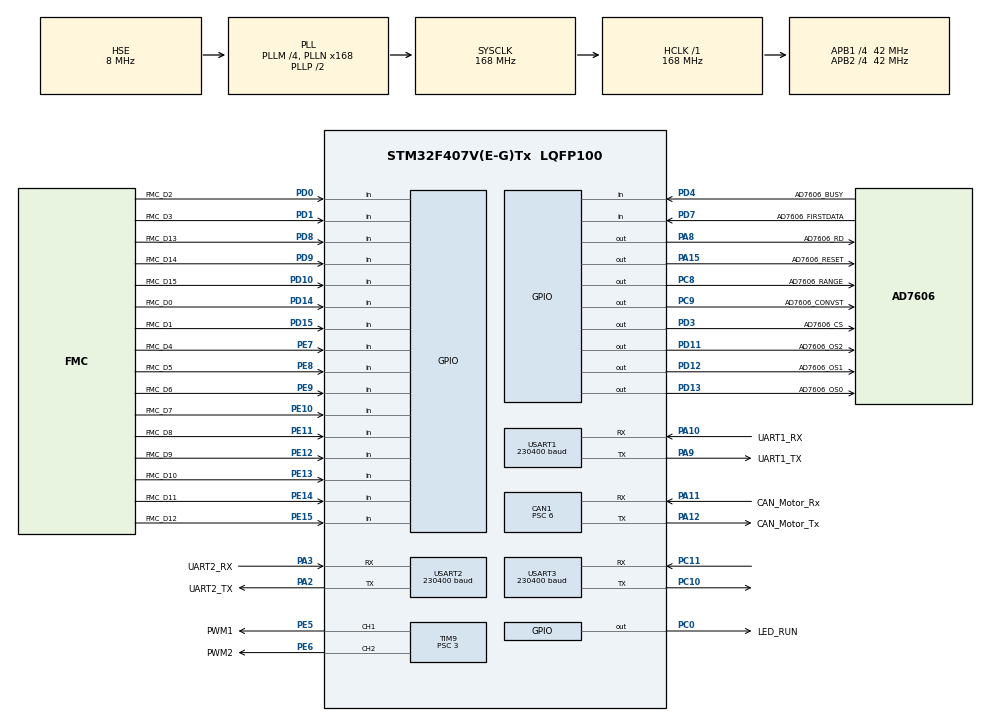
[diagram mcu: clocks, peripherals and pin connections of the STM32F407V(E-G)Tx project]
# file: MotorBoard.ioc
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CAN1.ABOM=ENABLE
CAN1.BS1=CAN_BS1_4TQ
CAN1.BS2=CAN_BS2_2TQ
CAN1.CalculateBaudRate=1000000
CAN1.CalculateTimeBit=1000
CAN1.CalculateTimeQuantum=142.85714285714286
CAN1.NART=ENABLE
CAN1.Prescaler=6
Dma.Request0=USART2_TX
Dma.Request1=USART3_RX
Dma.Request2=USART3_TX
Dma.USART2_TX.0.Direction=DMA_MEMORY_TO_PERIPH
Dma.USART2_TX.0.FIFOMode=DMA_FIFOMODE_DISABLE
Dma.USART2_TX.0.Instance=DMA1_Stream6
Dma.USART2_TX.0.MemDataAlignment=DMA_MDATAALIGN_BYTE
Dma.USART2_TX.0.MemInc=DMA_MINC_ENABLE
Dma.USART2_TX.0.Mode=DMA_NORMAL
Dma.USART2_TX.0.PeriphDataAlignment=DMA_PDATAALIGN_BYTE
Dma.USART2_TX.0.PeriphInc=DMA_PINC_DISABLE
Dma.USART2_TX.0.Priority=DMA_PRIORITY_LOW
Dma.USART3_RX.1.Direction=DMA_PERIPH_TO_MEMORY
Dma.USART3_RX.1.FIFOMode=DMA_FIFOMODE_DISABLE
Dma.USART3_RX.1.Instance=DMA1_Stream1
Dma.USART3_RX.1.MemDataAlignment=DMA_MDATAALIGN_BYTE
Dma.USART3_RX.1.MemInc=DMA_MINC_ENABLE
Dma.USART3_RX.1.Mode=DMA_NORMAL
Dma.USART3_RX.1.PeriphDataAlignment=DMA_PDATAALIGN_BYTE
Dma.USART3_RX.1.PeriphInc=DMA_PINC_DISABLE
Dma.USART3_RX.1.Priority=DMA_PRIORITY_LOW
Dma.USART3_TX.2.Direction=DMA_MEMORY_TO_PERIPH
Dma.USART3_TX.2.FIFOMode=DMA_FIFOMODE_DISABLE
Dma.USART3_TX.2.Instance=DMA1_Stream3
Dma.USART3_TX.2.MemDataAlignment=DMA_MDATAALIGN_BYTE
Dma.USART3_TX.2.MemInc=DMA_MINC_ENABLE
Dma.USART3_TX.2.Mode=DMA_NORMAL
Dma.USART3_TX.2.PeriphDataAlignment=DMA_PDATAALIGN_BYTE
Dma.USART3_TX.2.PeriphInc=DMA_PINC_DISABLE
Dma.USART3_TX.2.Priority=DMA_PRIORITY_LOW
Mcu.Family=STM32F4
Mcu.Name=STM32F407V(E-G)Tx
Mcu.Package=LQFP100
NVIC.CAN1_RX0_IRQn=true\:2\:0\:true\:false\:true\:true\:true\:true
NVIC.CAN1_RX1_IRQn=true\:2\:0\:true\:false\:true\:true\:true\:true
NVIC.CAN1_SCE_IRQn=true\:2\:0\:true\:false\:true\:true\:true\:true
NVIC.CAN1_TX_IRQn=true\:2\:0\:true\:false\:true\:true\:true\:true
NVIC.DMA1_Stream1_IRQn=true\:0\:0\:false\:false\:true\:false\:true\:true
NVIC.DMA1_Stream3_IRQn=true\:0\:0\:false\:false\:true\:false\:true\:true
NVIC.DMA1_Stream6_IRQn=true\:2\:0\:true\:false\:true\:false\:true\:true
NVIC.PriorityGroup=NVIC_PRIORITYGROUP_4
NVIC.TIM1_BRK_TIM9_IRQn=true\:0\:0\:false\:false\:true\:true\:true\:true
NVIC.TIM2_IRQn=true\:0\:0\:false\:false\:true\:true\:true\:true
NVIC.TIM6_DAC_IRQn=true\:3\:0\:true\:false\:true\:true\:true\:true
NVIC.USART2_IRQn=true\:4\:0\:true\:false\:true\:true\:true\:true
NVIC.USART3_IRQn=true\:3\:0\:true\:false\:true\:true\:true\:true
PA10.GPIO_Label=UART1_RX
PA10.Mode=Asynchronous
PA10.Signal=USART1_RX
PA11.GPIO_Label=CAN_Motor_Rx
PA11.Mode=CAN_Activate
PA11.Signal=CAN1_RX
PA12.GPIO_Label=CAN_Motor_Tx
PA12.Mode=CAN_Activate
PA12.Signal=CAN1_TX
PA13.Mode=Serial_Wire
PA13.Signal=SYS_JTMS-SWDIO
PA14.Mode=Serial_Wire
PA14.Signal=SYS_JTCK-SWCLK
PA15.GPIO_Label=AD7606_RESET
PA15.GPIO_PuPd=GPIO_PULLDOWN
PA15.GPIO_Speed=GPIO_SPEED_FREQ_HIGH
PA15.Signal=GPIO_Output
PA2.GPIO_Label=UART2_TX
PA2.Mode=Asynchronous
PA2.Signal=USART2_TX
PA3.GPIO_Label=UART2_RX
PA3.Mode=Asynchronous
PA3.Signal=USART2_RX
PA8.GPIO_Label=AD7606_RD
PA8.GPIO_PuPd=GPIO_PULLDOWN
PA8.GPIO_Speed=GPIO_SPEED_FREQ_HIGH
PA8.PinState=GPIO_PIN_RESET
PA8.Signal=GPIO_Output
PA9.GPIO_Label=UART1_TX
PA9.Mode=Asynchronous
PA9.Signal=USART1_TX
PC0.GPIO_Label=LED_RUN
PC0.GPIO_Speed=GPIO_SPEED_FREQ_MEDIUM
PC0.Signal=GPIO_Output
PC10.Mode=Asynchronous
PC10.Signal=USART3_TX
PC11.Mode=Asynchronous
PC11.Signal=USART3_RX
PC8.GPIO_Label=AD7606_RANGE
PC8.GPIO_PuPd=GPIO_PULLDOWN
PC8.GPIO_Speed=GPIO_SPEED_FREQ_HIGH
PC8.Signal=GPIO_Output
PC9.GPIO_Label=AD7606_CONVST
PC9.GPIO_PuPd=GPIO_PULLDOWN
PC9.GPIO_Speed=GPIO_SPEED_FREQ_HIGH
PC9.Signal=GPIO_Output
PD0.GPIO_Label=FMC_D2
PD0.Signal=GPIO_Input
PD1.GPIO_Label=FMC_D3
PD1.Signal=GPIO_Input
PD10.GPIO_Label=FMC_D15
PD10.Signal=GPIO_Input
PD11.GPIO_Label=AD7606_OS2
PD11.GPIO_PuPd=GPIO_PULLDOWN
PD11.GPIO_Speed=GPIO_SPEED_FREQ_HIGH
PD11.Signal=GPIO_Output
PD12.GPIO_Label=AD7606_OS1
PD12.GPIO_PuPd=GPIO_PULLDOWN
PD12.GPIO_Speed=GPIO_SPEED_FREQ_HIGH
PD12.Signal=GPIO_Output
PD13.GPIO_Label=AD7606_OS0
PD13.GPIO_ModeDefaultOutputPP=GPIO_MODE_OUTPUT_PP
PD13.GPIO_PuPd=GPIO_PULLDOWN
PD13.GPIO_Speed=GPIO_SPEED_FREQ_HIGH
PD13.Signal=GPIO_Output
PD14.GPIO_Label=FMC_D0
PD14.Signal=GPIO_Input
PD15.GPIO_Label=FMC_D1
PD15.Signal=GPIO_Input
PD3.GPIO_Label=AD7606_CS
PD3.GPIO_PuPd=GPIO_PULLDOWN
PD3.GPIO_Speed=GPIO_SPEED_FREQ_HIGH
PD3.Signal=GPIO_Output
PD4.GPIO_Label=AD7606_BUSY
PD4.GPIO_PuPd=GPIO_NOPULL
PD4.Signal=GPIO_Input
PD7.GPIO_Label=AD7606_FIRSTDATA
PD7.Signal=GPIO_Input
PD8.GPIO_Label=FMC_D13
PD8.Signal=GPIO_Input
PD9.GPIO_Label=FMC_D14
PD9.Signal=GPIO_Input
PE10.GPIO_Label=FMC_D7
PE10.Signal=GPIO_Input
PE11.GPIO_Label=FMC_D8
PE11.Signal=GPIO_Input
PE12.GPIO_Label=FMC_D9
PE12.Signal=GPIO_Input
PE13.GPIO_Label=FMC_D10
PE13.Signal=GPIO_Input
PE14.GPIO_Label=FMC_D11
PE14.Signal=GPIO_Input
PE15.GPIO_Label=FMC_D12
PE15.Signal=GPIO_Input
PE5.GPIO_Label=PWM1
PE5.GPIO_Speed=GPIO_SPEED_FREQ_VERY_HIGH
PE5.Signal=S_TIM9_CH1
PE6.GPIO_Label=PWM2
PE6.GPIO_Speed=GPIO_SPEED_FREQ_VERY_HIGH
PE6.Signal=S_TIM9_CH2
PE7.GPIO_Label=FMC_D4
PE7.Signal=GPIO_Input
PE8.GPIO_Label=FMC_D5
PE8.Signal=GPIO_Input
PE9.GPIO_Label=FMC_D6
PE9.Signal=GPIO_Input
PH0-OSC_IN.Mode=HSE-External-Oscillator
PH0-OSC_IN.Signal=RCC_OSC_IN
PH1-OSC_OUT.Mode=HSE-External-Oscillator
PH1-OSC_OUT.Signal=RCC_OSC_OUT
ProjectManager.HeapSize=0x200
ProjectManager.StackSize=0x400
ProjectManager.TargetToolchain=MDK-ARM V5.32
RCC.48MHZClocksFreq_Value=84000000
RCC.AHBFreq_Value=168000000
RCC.APB1CLKDivider=RCC_HCLK_DIV4
RCC.APB1Freq_Value=42000000
RCC.APB1TimFreq_Value=84000000
RCC.APB2CLKDivider=RCC_HCLK_DIV4
RCC.APB2Freq_Value=42000000
RCC.APB2TimFreq_Value=84000000
RCC.CortexFreq_Value=168000000
RCC.HCLKFreq_Value=168000000
RCC.HSE_VALUE=8000000
RCC.HSI_VALUE=16000000
RCC.LSE_VALUE=32768
RCC.PLLM=4
RCC.PLLN=168
RCC.PLLSourceVirtual=RCC_PLLSOURCE_HSE
RCC.SYSCLKFreq_VALUE=168000000
RCC.SYSCLKSource=RCC_SYSCLKSOURCE_PLLCLK
RCC.VCOOutputFreq_Value=336000000
SH.S_TIM9_CH1.0=TIM9_CH1,PWM Generation1 CH1
SH.S_TIM9_CH2.0=TIM9_CH2,PWM Generation2 CH2
TIM2.AutoReloadPreload=TIM_AUTORELOAD_PRELOAD_ENABLE
TIM2.Period=9999
TIM2.Prescaler=83
TIM6.Period=9999
TIM6.Prescaler=167
TIM9.AutoReloadPreload=TIM_AUTORELOAD_PRELOAD_DISABLE
TIM9.Channel-PWM\ Generation1\ CH1=TIM_CHANNEL_1
TIM9.Channel-PWM\ Generation2\ CH2=TIM_CHANNEL_2
TIM9.OC1Preload_PWM=DISABLE
TIM9.OC2Preload_PWM=DISABLE
TIM9.OCPolarity_1=TIM_OCPOLARITY_LOW
TIM9.OCPolarity_2=TIM_OCPOLARITY_LOW
TIM9.Period=1049
TIM9.Prescaler=3
USART1.BaudRate=230400
USART1.VirtualMode=VM_ASYNC
USART2.BaudRate=230400
USART2.VirtualMode=VM_ASYNC
USART3.BaudRate=230400
USART3.VirtualMode=VM_ASYNC
VP_TIM2_VS_ClockSourceINT.Mode=Internal
VP_TIM6_VS_ClockSourceINT.Mode=Enable_Timer
board=custom

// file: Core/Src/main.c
/* USER CODE BEGIN Header */
/**
  ******************************************************************************
  * @file           : main.c
  * @brief          : Main program body
  ******************************************************************************
  * @attention
  *
  * Copyright (c) 2025 STMicroelectronics.
  * All rights reserved.
  *
  * This software is licensed under terms that can be found in the LICENSE file
  * in the root directory of this software component.
  * If no LICENSE file comes with this software, it is provided AS-IS.
  *
  ******************************************************************************
  */
/* USER CODE END Header */
#include "main.h"
#include "can.h"
#include "dma.h"
#include "tim.h"
#include "usart.h"
#include "gpio.h"

/* USER CODE BEGIN Includes */
#include <stdio.h>
#include <stdint.h>
#include <stdlib.h>
#include <string.h>
#include <math.h>
#include <rs00_motor.h>
#include "mpu6050.h"
#include "i2c.h"
#include "proto_transport.h"
#include "proto_app.h"
#include "flash_store.h"
#include "motor_ctrl.h"
#include "active_reference.h"

/* USER CODE END Includes */

/* USER CODE BEGIN PTD */
#define MAX_HOME_TRAVEL   45.0f
#define HOME_ANGLE_RAW  0.0f
/* USER CODE END PTD */

/* USER CODE BEGIN PD */

#define ENABLE_USART1_FLOAT_TEST 0

/* USER CODE END PD */

/* USER CODE BEGIN PV */

MIT_StateTypeDef mit_state;
uint32_t g_100ms_counter = 0;  // 100ms鎵ц涓€娆＄殑璁℃暟鍣?
uint8_t g_rs00_mode = 5;
volatile uint8_t Chilun_arrive_flag = 0;
volatile uint8_t g_homing_done = 0;     // 鍥為浂瀹屾垚鏍囧織
float g_home_offset = 0.0f;             // 闆剁偣瀵瑰簲鐨勭疮璁¤搴︼紙鍗宠Е鍙戠灛闂寸殑 g_total_angle_1锛?
static uint8_t g_mpu6050_ready = 0U;
uint8_t g_m2_traj_mode = 0u;  /* Motor2: 0=position, 1=velocity */
float   g_m2_traj_deg  = 0.0f;  /* Motor2 planned position (deg) */
float   g_m2_traj_vel  = 0.0f;  /* Motor2 planned velocity (deg/cycle) */

/* --- Rehab passive control state machine --- */
typedef enum {
    REHAB_IDLE = 0,
    REHAB_FORWARD,     /* moving toward max */
    REHAB_BACKWARD,    /* moving toward min */
    REHAB_RETURN       /* returning to zero */
} rehab_state_t;

typedef struct {
    uint8_t  active;       /* 0=stopped, 1=running */
    uint8_t  state;        /* rehab_state_t */
    float    target;       /* current target angle (°) */
    uint16_t half_cycles;  /* half-cycles completed */
} rehab_ctx_t;

static rehab_ctx_t g_rehab_m1 = {0u, REHAB_IDLE, 0.0f, 0u};
static rehab_ctx_t g_rehab_m2 = {0u, REHAB_IDLE, 0.0f, 0u};

/* --- Active rehab visual reference (shared quintic generator) --- */
static actv_rehab_t g_actv_m1 = {0};
static float        g_actv_traj_pos = 0.0f;   /* M1 T-wave position for telemetry */

static actv_rehab_t g_actv_m2 = {0};
static float        g_actv_traj_pos_m2 = 0.0f; /* M2 T-wave position for telemetry */
static uint8_t      g_actv_m2_mode = 1u;       /* 1=flex/ext(Fy), 2=ulnar/radial(Fz) */

/* USER CODE END PV */

void SystemClock_Config(void);
/* USER CODE BEGIN PFP */

void Command_Process(void);
void control_process(void);

void AD_Caiyang_process(void);
void Order_Creat_process(void);
void Signal_UPdata_Process(void)
{
	static uint32_t send_counter = 0U;
	static const uint8_t telem_ids[18] = {
		PROTO_FLOAT_ID_MOTOR1_ANGLE,   /* [0] PID input (trajectory setpoint) */
		PROTO_FLOAT_ID_MOTOR1_SPEED,   /* [1] feedback (roll) */
		PROTO_FLOAT_ID_MOTOR1_CURRENT, /* [2] PID output */
		PROTO_FLOAT_ID_MOTOR1_KP,      /* [3] Kp */
		PROTO_FLOAT_ID_MOTOR1_KI,      /* [4] Ki */
		PROTO_FLOAT_ID_MOTOR2_ANGLE,   /* [5] planned position (°) */
		PROTO_FLOAT_ID_MOTOR2_SPEED,   /* [6] actual position (°) */
		PROTO_FLOAT_ID_MOTOR2_TORQUE,  /* [7] planned velocity (°/s) */
		PROTO_FLOAT_ID_MOTOR2_KP,      /* [8] actual velocity (°/s) */
		PROTO_FLOAT_ID_MOTOR2_KD,      /* [9] torque (N*m) */
		PROTO_FLOAT_ID_FORCE_FX,       /* [10] DR304 Fx (N) */
		PROTO_FLOAT_ID_FORCE_FY,       /* [11] DR304 Fy (N) */
		PROTO_FLOAT_ID_FORCE_FZ,       /* [12] DR304 Fz (N) */
		PROTO_FLOAT_ID_FORCE_MX,       /* [13] DR304 Mx (N*m) */
		PROTO_FLOAT_ID_FORCE_MY,       /* [14] DR304 My (N*m) */
		PROTO_FLOAT_ID_FORCE_MZ,       /* [15] DR304 Mz (N*m) */
		PROTO_FLOAT_ID_M1_ACTV_SPEED,  /* [16] M1 T-wave (°) */
		PROTO_FLOAT_ID_M2_ACTV_SPEED,  /* [17] M2 T-wave (°) */
	};
	float telem_vals[18];
	float ft_vals[6];

	/* Throttle to ~20Hz (every 5 control cycles) */
	send_counter++;
	if (send_counter < 5U) return;
	send_counter = 0U;

	/* Motor1 data */
	telem_vals[0] = Control_P_PID.In_val;        /* PID setpoint (trajectory) */
	telem_vals[1] = roll;                         /* PID feedback (IMU roll) */
	telem_vals[2] = Control_P_PID.u_out;          /* PID output */
	telem_vals[3] = my_Order_mode.motor1_kp;      /* Kp */
	telem_vals[4] = my_Order_mode.motor1_ki;      /* Ki */

	/* Motor2: planned=target, actual=CAN feedback */
	telem_vals[5] = g_m2_traj_deg;                         /* planned position (°) */
	telem_vals[6] = motor_feedback.position * 57.29578f;   /* actual position (rad→°) */
	telem_vals[7] = g_m2_traj_vel * 100.0f;                /* planned velocity (deg/cycle→°/s) */
	telem_vals[8] = motor_feedback.speed * 57.29578f;      /* actual velocity (rad/s→°/s) */
	telem_vals[9] = motor_feedback.torque;                 /* torque (N·m) */

	/* Force sensor: DR304 via UART2 Modbus */
	USART2_DR304GetLatestValues(ft_vals);
	telem_vals[10] = ft_vals[0];
	telem_vals[11] = ft_vals[1];
	telem_vals[12] = ft_vals[2];
	telem_vals[13] = ft_vals[3];
	telem_vals[14] = ft_vals[4];
	telem_vals[15] = ft_vals[5];

	/* T-wave virtual trajectory */
	telem_vals[16] = g_actv_traj_pos;
	telem_vals[17] = g_actv_traj_pos_m2;

	(void)proto_app_send_telemetry(18U, telem_ids, telem_vals);
}
void Motor1_dingdian_control_process(void);

/* USER CODE END PFP */

/* USER CODE BEGIN 0 */

/* --- UART3 float dispatch → motor_ctrl --- */
static void app_float_callback(uint8_t float_id, float value)
{
    switch (float_id)
    {
    case PROTO_FLOAT_ID_MOTOR1_ANGLE:        motor1_set_angle(value);        break;
    case PROTO_FLOAT_ID_MOTOR1_SPEED:        motor1_set_speed(value);        break;
    case PROTO_FLOAT_ID_MOTOR1_CURRENT:      motor1_set_current(value);      break;
    case PROTO_FLOAT_ID_MOTOR1_KP:           motor1_set_kp(value);           break;
    case PROTO_FLOAT_ID_MOTOR1_KI:           motor1_set_ki(value);           break;
    case PROTO_FLOAT_ID_MOTOR1_PWM:          motor1_set_pwm_duty(value);      break;
    case PROTO_FLOAT_ID_MOTOR1_MAX_SPEED:    motor1_set_max_speed(value);     break;
    case PROTO_FLOAT_ID_MOTOR1_REHAB_MIN:   motor1_set_rehab_min(value);     break;
    case PROTO_FLOAT_ID_MOTOR1_REHAB_MAX:   motor1_set_rehab_max(value);     break;
    case PROTO_FLOAT_ID_MOTOR1_REHAB_CYCLES:motor1_set_rehab_cycles(value);  break;
    case PROTO_FLOAT_ID_M1_ACTV_SPEED:       motor1_set_actv_speed(value);    break;
    case PROTO_FLOAT_ID_M1_ACTV_LIMIT1:      motor1_set_actv_limit1(value);   break;
    case PROTO_FLOAT_ID_M1_ACTV_LIMIT2:      motor1_set_actv_limit2(value);   break;
    case PROTO_FLOAT_ID_M1_ACTV_PAUSE:       motor1_set_actv_pause(value);    break;
    case PROTO_FLOAT_ID_M1_ACTV_TMAX:        motor1_set_actv_tmax(value);     break;
    case PROTO_FLOAT_ID_M1_ACTV_STIFF:       motor1_set_actv_stiffness(value);break;
    case PROTO_FLOAT_ID_MOTOR2_ANGLE:        motor2_set_position(value);      break;
    case PROTO_FLOAT_ID_MOTOR2_SPEED:        motor2_set_velocity(value);     break;
    case PROTO_FLOAT_ID_MOTOR2_TORQUE:       motor2_set_torque(value);       break;
    case PROTO_FLOAT_ID_MOTOR2_KP:           motor2_set_kp(value);           break;
    case PROTO_FLOAT_ID_MOTOR2_KD:           motor2_set_kd(value);           break;
    case PROTO_FLOAT_ID_MOTOR2_MAX_SPEED:    motor2_set_max_speed(value);     break;
    case PROTO_FLOAT_ID_MOTOR2_CURRENT_LIMIT:motor2_set_current_limit(value);break;
    case PROTO_FLOAT_ID_MOTOR2_REHAB_MIN:   motor2_set_rehab_min(value);     break;
    case PROTO_FLOAT_ID_MOTOR2_REHAB_MAX:   motor2_set_rehab_max(value);     break;
    case PROTO_FLOAT_ID_MOTOR2_REHAB_CYCLES:motor2_set_rehab_cycles(value);  break;
    case PROTO_FLOAT_ID_M2_ACTV_SPEED:   motor2_set_actv_speed(value);       break;
    case PROTO_FLOAT_ID_M2_ACTV_LIMIT1:  motor2_set_actv_limit1(value);      break;
    case PROTO_FLOAT_ID_M2_ACTV_LIMIT2:  motor2_set_actv_limit2(value);      break;
    case PROTO_FLOAT_ID_M2_ACTV_PAUSE:   motor2_set_actv_pause(value);       break;
    case PROTO_FLOAT_ID_M2_ACTV_FMAX:    motor2_set_actv_fmax(value);        break;
    case PROTO_FLOAT_ID_M2_ACTV_STIFF:   motor2_set_actv_stiffness(value);   break;
    default: break;
    }
}

/* --- UART3 IO dispatch → motor_ctrl --- */
static void app_io_callback(uint8_t io_id, uint8_t state)
{
    switch (io_id)
    {
    case PROTO_IO_ID_M1_START_STOP:
        if (state == 1u) motor1_start();
        else             motor1_stop();
        break;
    case PROTO_IO_ID_MODE:
        motor1_ctrl_set_mode(state);
        break;
    case PROTO_IO_ID_M2_START_STOP:
        if (state == 1u) motor2_enable();
        else             motor2_stop();
        break;
    case PROTO_IO_ID_M2_RUN_MODE:
        motor2_set_mode(state);
        break;
    case PROTO_IO_ID_M2_SET_ZERO:
        motor2_set_zero();
        break;
    case PROTO_IO_ID_M2_CLEAR_ERR:
        motor2_clear_error();
        break;
    case PROTO_IO_ID_M2_TRAJ_MODE:
        g_m2_traj_mode = state;
        break;
    case PROTO_IO_ID_M1_REHAB:
        if (state == 1u) {
            g_rehab_m1.active = 1u;
            g_rehab_m1.state  = REHAB_FORWARD;
            g_rehab_m1.target = motor1_get_rehab_max();
            g_rehab_m1.half_cycles = 0u;
            motor1_ctrl_set_mode(0u);  /* force position mode */
            motor1_start();
            printf("Rehab M1: start, %.1f<->%.1f x%u\r\n",
                   (double)motor1_get_rehab_min(),
                   (double)motor1_get_rehab_max(),
                   (unsigned int)motor1_get_rehab_cycles());
        } else {
            g_rehab_m1.active = 0u;
            g_rehab_m1.state  = REHAB_IDLE;
            /* Stop TIM2 only if M2 rehab also idle */
            if (!g_rehab_m2.active) {
                motor1_stop();
            }
            printf("Rehab M1: stopped\r\n");
        }
        break;
    case PROTO_IO_ID_M2_REHAB:
        if (state == 1u) {
            g_rehab_m2.active = 1u;
            g_rehab_m2.state  = REHAB_FORWARD;
            g_rehab_m2.target = motor2_get_rehab_max();
            g_rehab_m2.half_cycles = 0u;
            g_m2_traj_mode = 0u;   /* force position mode */
            motor2_enable();
            /* Kick off control loop (normally started by motor1_start) */
            if (my_Order_mode.start_or_stop != _start) {
                my_Order_mode.start_or_stop = _start;
                TIM2_Start_IT();
            }
            printf("Rehab M2: start, %.1f<->%.1f x%u\r\n",
                   (double)motor2_get_rehab_min(),
                   (double)motor2_get_rehab_max(),
                   (unsigned int)motor2_get_rehab_cycles());
        } else {
            g_rehab_m2.active = 0u;
            g_rehab_m2.state  = REHAB_IDLE;
            motor2_stop();
            /* Stop control loop only if M1 rehab is also idle */
            if (!g_rehab_m1.active) {
                my_Order_mode.start_or_stop = _stop;
                TIM2_Stop_IT();
            }
            printf("Rehab M2: stopped\r\n");
        }
        break;
    case PROTO_IO_ID_SYS_RUN:
        if (state == 1u) {
            my_Order_mode.start_or_stop = _start;
            TIM2_Start_IT();
            printf("SYS: control loop started\r\n");
        } else {
            my_Order_mode.start_or_stop = _stop;
            TIM2_Stop_IT();
            printf("SYS: control loop stopped\r\n");
        }
        break;
    case PROTO_IO_ID_M1_ACTV_REHAB:
        if (state == 1u) {
            actv_ref_reset(&g_actv_m1, motor1_get_actv_limit1(),
                           motor1_get_actv_pause());
            g_actv_traj_pos = g_actv_m1.pos;
            /* Kick off control loop if not running */
            if (my_Order_mode.start_or_stop != _start) {
                my_Order_mode.start_or_stop = _start;
                TIM2_Start_IT();
            }
            motor1_ctrl_set_mode(1u);  /* velocity mode for force compliance */
            motor1_start();
            printf("ActiveRehab M1: start, %.1f<->%.1f spd=%.1f tmax=%.1f k=%.1f\r\n",
                   (double)motor1_get_actv_limit1(),
                   (double)motor1_get_actv_limit2(),
                   (double)motor1_get_actv_speed(),
                   (double)motor1_get_actv_tmax(),
                   (double)motor1_get_actv_stiffness());
        } else {
            g_actv_m1.active = 0u;
            if (!g_rehab_m1.active && !g_rehab_m2.active) {
                motor1_stop();
            }
            printf("ActiveRehab M1: stopped\r\n");
        }
        break;
    case PROTO_IO_ID_M2_ACTV_REHAB:
        if (state == 1u) {
            /* Position Motor1 first based on mode */
            motor1_ctrl_set_mode(0u);  /* position mode */
            if (g_actv_m2_mode == 1u) {
                motor1_set_angle(0.0f);
            } else {
                motor1_set_angle(80.0f);
            }
            actv_ref_reset(&g_actv_m2, motor2_get_actv_limit1(),
                           motor2_get_actv_pause());
            g_actv_traj_pos_m2 = g_actv_m2.pos;
            if (my_Order_mode.start_or_stop != _start) {
                my_Order_mode.start_or_stop = _start;
                TIM2_Start_IT();
            }
            motor1_start();
            motor2_enable();
            printf("ActiveRehab M2: mode=%u start, %.1f<->%.1f fmax=%.1f k=%.1f\r\n",
                   (unsigned int)g_actv_m2_mode,
                   (double)motor2_get_actv_limit1(),
                   (double)motor2_get_actv_limit2(),
                   (double)motor2_get_actv_fmax(),
                   (double)motor2_get_actv_stiffness());
        } else {
            g_actv_m2.active = 0u;
            motor2_stop();
            if (!g_rehab_m1.active && !g_rehab_m2.active && !g_actv_m1.active) {
                motor1_stop();
            }
            printf("ActiveRehab M2: stopped\r\n");
        }
        break;
    case PROTO_IO_ID_M2_ACTV_MODE:
        g_actv_m2_mode = (state == 2u) ? 2u : 1u;
        printf("ActiveRehab M2: mode=%u\r\n", (unsigned int)g_actv_m2_mode);
        break;
    case PROTO_IO_ID_FORCE_ZERO:
        USART2_DR304SetZero();
        break;
    default: break;
    }
}

/* USER CODE END 0 */

int main(void)
{

  /* MCU Configuration--------------------------------------------------------*/

  /* Reset of all peripherals, Initializes the Flash interface and the Systick. */
  HAL_Init();

  /* Configure the system clock */
  SystemClock_Config();

  /* Initialize all configured peripherals */
  MX_GPIO_Init();
  MX_DMA_Init();
  MX_SoftI2C_Init();
  MX_TIM9_Init();
  MX_USART1_UART_Init();
  MX_USART2_UART_Init();
  MX_CAN1_Init();
  MX_TIM2_Init();
  MX_USART3_UART_Init();
  MX_TIM6_Init();
  /* USER CODE BEGIN 2 */

	Controller_Init();
      // 鍒濆鍖栧欢鏃跺嚱鏁?
    delay_init();
	    proto_transport_init();
	    proto_app_init();
	    proto_app_set_float_callback(app_float_callback);
	    proto_app_set_io_callback(app_io_callback);
	    flash_store_load();

    uint8_t soft_i2c_scl_high = 0U;
    uint8_t soft_i2c_sda_high = 0U;
    HAL_StatusTypeDef mpu_init_status;
    SoftI2C_GetBusState(&soft_i2c_scl_high, &soft_i2c_sda_high);
    printf("Boot: IMU init start (SCL=%u SDA=%u)\r\n",
           (unsigned int)soft_i2c_scl_high, (unsigned int)soft_i2c_sda_high);
    mpu_init_status = MPU6050_Init();
    if (mpu_init_status == HAL_OK)
    {
        printf("Boot: IMU who_am_i=0x%02X\r\n",
               (unsigned int)MPU6050_GetWhoAmI());
    }
    else
    {
        printf("Boot: IMU init error=%d\r\n",
               (int)MPU6050_GetInitError());
    }
    if ((mpu_init_status == HAL_OK) &&
        (MPU6050_Calibrate(400U) == HAL_OK))
    {
        g_mpu6050_ready = 1U;
        printf("Boot: IMU ready\r\n");
    }
    else
    {
        printf("Boot: IMU init failed (err=%d)\r\n",
               (int)MPU6050_GetInitError());
    }

	AD7606_Init();

    printf("Boot: system ready\r\n");

  	HAL_TIM_PWM_Start(&htim9,TIM_CHANNEL_1);
	HAL_TIM_PWM_Start(&htim9,TIM_CHANNEL_2);

	__HAL_TIM_SetCompare(&htim9, TIM_CHANNEL_1, (uint32_t)(1049.0f * 0.0f));
	__HAL_TIM_SetCompare(&htim9, TIM_CHANNEL_2, (uint32_t)(1049.0f * 0.0f));

	HAL_CAN_Start(&hcan1);                   // 鍚姩 CAN
	HAL_Delay(100);
	RS00_WriteParamUint8(0x7F, 0xFD, 0x7005, 0);

	// 绛夊緟绯荤粺绋冲畾锛堝彲閫夛級
	HAL_Delay(2000);

	// 1. 浣胯兘鐢垫満锛堢數鏈篒D=0x7F锛屼富鏈篒D=0xFD锛?
	RS00_Enable(0x7F, 0xFD);
	HAL_Delay(500);  // 绛夊緟浣胯兘瀹屾垚
	HAL_Delay(500);
	RS00_StartHoming(0x7F,0xFD);

	uint32_t last_time = HAL_GetTick();
	uint32_t mpu_sample_time = HAL_GetTick();
	uint32_t mpu_print_time = HAL_GetTick();

	 // 涓婄數鍏堝畬鎴愬洖闆?
    //void Home_Motor_Safe(void);

//    //鍥為浂缁撴潫锛岀幇鍦?g_total_angle_1 宸茬粡鏄?0
//    // 璁剧疆瀹氱偣鎺у埗
//    my_Order_mode.start_or_stop = _start;
//    my_Order_mode.mode = dingdian;
//    my_Order_mode.motor1_jiaodu = 0.0f;   // 姝ゆ椂灏辨槸鍦ㄩ浂鐐?
  /* USER CODE END 2 */

  /* Infinite loop */
  /* USER CODE BEGIN WHILE */
  while (1)
  {
	  if (g_mpu6050_ready != 0U)
	  {
		  uint32_t now = HAL_GetTick();
		  MPU6050_Process();
		  if ((uint32_t)(now - mpu_sample_time) >= 5U)
		  {
			  mpu_sample_time = now;
			  (void)MPU6050_RequestUpdate();
		  }
		  if ((uint32_t)(now - mpu_print_time) >= 500U)
		  {
			  mpu_print_time = now;
			  /* MPU6050_PrintUSART1(); */
		  }
	  }

    /* USER CODE END WHILE */

    /* USER CODE BEGIN 3 */

	   /*can ceshi */

//		Command_Process();
		control_process();
		CAN_ProcessReceivedFrames();
		//USART2_DR304PrintTask();

//		 printf("RAW=%.2f\r\n", Sensor_jiaodu_1.Value);
//			HAL_Delay(500);
		// 100ms鎵ц涓€娆＄殑浠ｇ爜
		if(HAL_GetTick() - last_time >= 500)
		{
			last_time = HAL_GetTick();
			g_100ms_counter++;
#if ENABLE_USART1_FLOAT_TEST

			float send_data[10] =
			{
				1.1f,
				2.2f,
				3.3f,
				4.4f,
				5.5f,
				6.6f,
				7.7f,
				8.8f,
				9.9f,
				10.1f
			};

			uart_send_10float(send_data);
#endif

//			printf("Sensor_jiaodu_1.Value = %.4f g_total_angle_1 = %.4f\r\n",Sensor_jiaodu_1.Value, g_total_angle_1);

		}

		proto_transport_poll();
  }
  /* USER CODE END 3 */
}

void SystemClock_Config(void)
{
  RCC_OscInitTypeDef RCC_OscInitStruct = {0};
  RCC_ClkInitTypeDef RCC_ClkInitStruct = {0};

  /** Configure the main internal regulator output voltage
  */
  __HAL_RCC_PWR_CLK_ENABLE();
  __HAL_PWR_VOLTAGESCALING_CONFIG(PWR_REGULATOR_VOLTAGE_SCALE1);

  /** Initializes the RCC Oscillators according to the specified parameters
  * in the RCC_OscInitTypeDef structure.
  */
  RCC_OscInitStruct.OscillatorType = RCC_OSCILLATORTYPE_HSE;
  RCC_OscInitStruct.HSEState = RCC_HSE_ON;
  RCC_OscInitStruct.PLL.PLLState = RCC_PLL_ON;
  RCC_OscInitStruct.PLL.PLLSource = RCC_PLLSOURCE_HSE;
  RCC_OscInitStruct.PLL.PLLM = 4;
  RCC_OscInitStruct.PLL.PLLN = 168;
  RCC_OscInitStruct.PLL.PLLP = RCC_PLLP_DIV2;
  RCC_OscInitStruct.PLL.PLLQ = 4;
  if (HAL_RCC_OscConfig(&RCC_OscInitStruct) != HAL_OK)
  {
    Error_Handler();
  }

  /** Initializes the CPU, AHB and APB buses clocks
  */
  RCC_ClkInitStruct.ClockType = RCC_CLOCKTYPE_HCLK|RCC_CLOCKTYPE_SYSCLK
                              |RCC_CLOCKTYPE_PCLK1|RCC_CLOCKTYPE_PCLK2;
  RCC_ClkInitStruct.SYSCLKSource = RCC_SYSCLKSOURCE_PLLCLK;
  RCC_ClkInitStruct.AHBCLKDivider = RCC_SYSCLK_DIV1;
  RCC_ClkInitStruct.APB1CLKDivider = RCC_HCLK_DIV4;
  RCC_ClkInitStruct.APB2CLKDivider = RCC_HCLK_DIV4;

  if (HAL_RCC_ClockConfig(&RCC_ClkInitStruct, FLASH_LATENCY_5) != HAL_OK)
  {
    Error_Handler();
  }
}

/* USER CODE BEGIN 4 */

void set_motor_pwm(float pwm1,float pwm2)
{

	float real_pwm1, real_pwm2;
	real_pwm1 = limit(pwm1,1.0f,0.0f);
	real_pwm2 = limit(pwm2,1.0f,0.0f);

	//printf("real1 = %f,real2 =%f\n",real_pwm1,real_pwm2);

	__HAL_TIM_SetCompare(&htim9, TIM_CHANNEL_1, (uint32_t)(Motor_count * real_pwm1));
	__HAL_TIM_SetCompare(&htim9, TIM_CHANNEL_2, (uint32_t)(Motor_count * real_pwm2));
}

void control_process(void)
{
	if (my_Order_mode.start_or_stop == _start)
	{
		if (My_state == work_flag)
		{
			switch (controller_flag)		//閿熸枻鎷烽敓鏂ゆ嫹閿熼樁鍒侯剨鎷烽敓鏂ゆ嫹閿熸彮鎭㈡唻鎷烽敓绐栴叏鎷烽敓鏂ゆ嫹妯￠敓鏂ゆ嫹閿熸枻鎷烽敓鏂ゆ嫹閿熸彮浼欐嫹閿熸枻鎷穡ork_flag,閿熸枻鎷?0ms閿熸枻鎷烽敓鏂ゆ嫹閿熼摪闈╂嫹浣嶄竴閿熻娇鐨勨槄鎷?
			{
				case wait:
					controller_flag = caiji;
				break;
				case caiji:
					AD_Caiyang_process();		//閿熸枻鎷烽敓鏂ゆ嫹閿熸嵎闈╂嫹閿熼摪纰夋嫹h_as5600閿熸枻鎷烽敓鏂ゆ嫹宄佺櫢鎷烽敓鏂ゆ嫹閿熸枻鎷烽敓鏂ゆ嫹閿?
					controller_flag = creat_order;
				break;
				case creat_order:
					Order_Creat_process();
					controller_flag = controller_cal;
				break;
			case controller_cal:
				/* Mode dispatch: PID or PWM */
				if (my_Order_mode.mode == PWM_test)
				{
					float temp_pwm = motor1_get_pwm_duty();
					float temp = 0.0001f;
					if (temp_pwm > temp)
					{
						zhan_1_temp = temp_pwm;
						zhan_2_temp = 0.0f;
					}
					else if (fabs(temp_pwm) <= temp)
					{
						zhan_1_temp = 0.0f;
						zhan_2_temp = 0.0f;
					}
					else
					{
						zhan_1_temp = 0.0f;
						zhan_2_temp = -temp_pwm;
					}
				}
				else
				{
					Motor1_dingdian_control_process();
				}
				set_motor_pwm(zhan_1_temp, zhan_2_temp);
				controller_flag = fresh_data;
			break;
				case fresh_data:
					//printf("5\n");
					Signal_UPdata_Process();
					My_state = stop_flag;						//閿熼ズ杈炬嫹閿熸枻鎷锋椂閿熷彨鏂綇鎷烽敓鏂ゆ嫹閿熸枻鎷烽敓鏂ゆ嫹涓洪敓鏂ゆ嫹閿熸枻鎷风姸鎬?
					controller_flag = wait;
				break;
				default:
					//printf("6\n");
					controller_flag = wait;
					break;
				}
		}
	}
	else
	{
		set_motor_pwm(0.0f, 0.0f);
	}

}

void AD_Caiyang_process(void)
{
	static float g_prev_angle_littlt = 0.0f;
//璇诲彇鐢垫祦鍊煎拰缂栫爜鍣ㄥ弬鏁帮紝鍚屾椂鏇存柊缂栫爜鍣?
	int16_t sensor_value[8] = {0};
	Get_7606_Average(sensor_value);

	//鐪熸槸鐢靛帇鍊?U * 10 / 22, 鐢靛帇鑼冨洿鏄?V锛孉D7606鐢靛帇 * 2.2f = 鐪熷疄鐨勭數鍘嬪€?
	Sensor_jiaodu_1.Value_AD = 2.2f * limit(10.0f * sensor_value[5] / 0xFFFF, 5.0 , 0.0);//10.0 * (sensor_value[0] - 0x00) / (0x73BC - 0);
	Sensor_Data_convert(P_Sensor_jiaodu_1);

	// 璁＄畻绱瑙掑害
	float current_angle = Sensor_jiaodu_1.Value; // 褰撳墠缁濆瑙掑害鍊?0-360)
	static int32_t revolution = 0; // 鏃嬭浆鍦堟暟

	float delta = current_angle - g_prev_angle_littlt;
	g_prev_angle_littlt = current_angle;
	if(delta > 180.0f)
	{
		revolution--;
	}
	else if(delta < -180.0f)
	{
		revolution++;
	}

	g_total_angle_1 = (float)revolution * 360.0f + current_angle;

	g_prev_angle_1 = current_angle;

	Sensor_I1.Value_AD = limit(10.0f * sensor_value[4] / 0xFFFF, 5.0 , 0.0);
	Sensor_I1.Value = Sensor_I1.Value_AD * 1000.0f / 20 * 1000.0f;	//1A瀵瑰簲鐨勭數鍘嬪€兼槸20mV锛岃繖閲岃€冮獙鐢垫祦妫€娴嬭兘鍔涚殑澶у皬锛屾渶鍚庣殑鍒版槸mA
}

/* --- Rehab state advance (called when trajectory reaches target) --- */
static void rehab_advance(rehab_ctx_t *ctx, uint8_t is_motor2)
{
    uint16_t total;

    switch (ctx->state)
    {
    case REHAB_IDLE:
        break;
    case REHAB_FORWARD:
        ctx->state = REHAB_BACKWARD;
        if (is_motor2) {
            ctx->target = motor2_get_rehab_min();
            total = motor2_get_rehab_cycles();
        } else {
            ctx->target = motor1_get_rehab_min();
            total = motor1_get_rehab_cycles();
        }
        ctx->half_cycles++;
        break;
    case REHAB_BACKWARD:
        ctx->half_cycles++;
        if (is_motor2) total = motor2_get_rehab_cycles();
        else            total = motor1_get_rehab_cycles();
        if (ctx->half_cycles >= total * 2u) {
            ctx->state  = REHAB_RETURN;
            ctx->target = 0.0f;
        } else {
            ctx->state = REHAB_FORWARD;
            if (is_motor2) ctx->target = motor2_get_rehab_max();
            else           ctx->target = motor1_get_rehab_max();
        }
        break;
    case REHAB_RETURN:
        ctx->active = 0u;
        ctx->state  = REHAB_IDLE;
        if (is_motor2) {
            motor2_stop();
            if (!g_rehab_m1.active) {
                my_Order_mode.start_or_stop = _stop;
                TIM2_Stop_IT();
            }
        } else {
            if (!g_rehab_m2.active) motor1_stop();
        }
        printf("Rehab %s: done\r\n", is_motor2 ? "M2" : "M1");
        break;
    }
}

/* Visual reference only: retain original call sites and telemetry values. */
static void actv_twave_tick(actv_rehab_t *ctx)
{
    actv_ref_tick(ctx, motor1_get_actv_limit1(), motor1_get_actv_limit2(),
                  motor1_get_actv_speed(), motor1_get_actv_pause());
}

static void actv_twave_tick_m2(actv_rehab_t *ctx)
{
    actv_ref_tick(ctx, motor2_get_actv_limit1(), motor2_get_actv_limit2(),
                  motor2_get_actv_speed(), motor2_get_actv_pause());
}

void Order_Creat_process(void)
{
	/* ==================== Motor1 Trajectory ==================== */
	{
		static float    m1_traj_current  = 0.0f;
		static float    m1_traj_velocity = 0.0f;
		float m1_max_speed = motor1_get_max_speed();
		float m1_max_accel = 0.1f;

		/* Active rehab: T-wave virtual trajectory + force compliance */
		if (g_actv_m1.active)
		{
			float ft_vals[6];
			float mx, tmax, k;

			/* 1. Advance T-wave virtual trajectory */
			actv_twave_tick(&g_actv_m1);
			g_actv_traj_pos = g_actv_m1.pos;

			/* 2. Force compliance: check Mx torque, set motor velocity */
			USART2_DR304GetLatestValues(ft_vals);
			mx    = ft_vals[3];                 /* Mx (N*m) */
			tmax  = motor1_get_actv_tmax();
			k     = motor1_get_actv_stiffness();

			if (fabsf(mx) > tmax)
			{
				float excess = fabsf(mx) - tmax;
				float dir   = (mx > 0.0f) ? -1.0f : 1.0f;  /* -sign(Mx): torque & vel opposite */
				my_Order_mode.motor1_sudu = dir * excess / k;
			}
			else
			{
				my_Order_mode.motor1_sudu = 0.0f;
			}

			/* Velocity mode integration & skip PID */
			m1_traj_current += my_Order_mode.motor1_sudu * 0.01f;
			Control_P_PID.In_val = m1_traj_current;
		}
		else
		{

		/* Rehab override: replace target angle with rehab state machine target */
		if (g_rehab_m1.active)
		{
			my_Order_mode.motor1_jiaodu = g_rehab_m1.target;
		}

		if (my_Order_mode.mode != 1u)  /* 0=position, 1=velocity, 3=PWM handled in controller_cal */
		{
			/* Position mode: ramp toward target */
			float target = my_Order_mode.motor1_jiaodu;
			float error  = target - m1_traj_current;
			if (fabsf(error) < 0.01f) { m1_traj_current = target; m1_traj_velocity = 0.0f; }
			else
			{
				float dir   = (error > 0.0f) ? 1.0f : -1.0f;
				float dist  = fabsf(error);
				float v_max = m1_max_speed;
				float v_decel = sqrtf(2.0f * m1_max_accel * dist);
				if (v_decel < v_max) v_max = v_decel;
				if (v_max < 0.01f)   v_max = 0.01f;
				m1_traj_velocity += m1_max_accel * dir;
				if (m1_traj_velocity >  v_max) m1_traj_velocity =  v_max;
				if (m1_traj_velocity < -v_max) m1_traj_velocity = -v_max;
				m1_traj_current += m1_traj_velocity;
				if (fabsf(m1_traj_current - target) < 0.005f) m1_traj_current = target;
			}
		}
		else
		{
			/* Velocity mode: continuously add target velocity */
			m1_traj_current += my_Order_mode.motor1_sudu * 0.01f;
		}

		/* Rehab: check if we've reached the target */
		if (g_rehab_m1.active && fabsf(m1_traj_current - g_rehab_m1.target) < 0.05f)
		{
			rehab_advance(&g_rehab_m1, 0u);
		}

		Control_P_PID.In_val = m1_traj_current;
	}
	}

	/* ==================== Motor2 Trajectory ==================== */
	{
		/* M2 Active rehab: T-wave + force compliance */
		if (g_actv_m2.active)
		{
			float ft_vals[6];
			float ff, fmax, k;

			actv_twave_tick_m2(&g_actv_m2);
			g_actv_traj_pos_m2 = g_actv_m2.pos;

			USART2_DR304GetLatestValues(ft_vals);
			fmax = motor2_get_actv_fmax();
			k    = motor2_get_actv_stiffness();

			/* Select force channel by mode */
			ff = (g_actv_m2_mode == 2u) ? ft_vals[4] : ft_vals[1];  /* Ty(My) or Fy */

			if (fabsf(ff) > fmax)
			{
				float excess = fabsf(ff) - fmax;
				float dir;
				if (g_actv_m2_mode == 2u) {
					dir = (ff > 0.0f) ? 1.0f : -1.0f;   /* mode2: no sign flip */
				} else {
					dir = (ff > 0.0f) ? -1.0f : 1.0f;   /* mode1: flip sign */
				}
				motor2_set_velocity(dir * excess / k);  /* deg/s */
			}
			else
			{
				motor2_set_velocity(0.0f);
			}

			/* Force compliance: move from current position, or hold if |F|<Fmax */
			{
				static float m2_cmd_pos_rad = 0.0f;
				static uint8_t m2_cmd_pos_inited = 0u;
				float vel_rad = motor2_get_velocity() * 0.0174532925f;  /* deg/s -> rad/s */

				if (!m2_cmd_pos_inited) {
					m2_cmd_pos_rad = motor_feedback.position;
					m2_cmd_pos_inited = 1u;
				}

				if (fabsf(vel_rad) < 0.0001f) {
					/* Below threshold: hold current position */
					m2_cmd_pos_rad = motor_feedback.position;
				} else {
					/* Above threshold: integrate velocity */
					m2_cmd_pos_rad += vel_rad * 0.01f;  /* rad/cycle */
				}

				motor2_send_control(m2_cmd_pos_rad,
				                    vel_rad,
				                    motor2_get_torque(),
				                    motor2_get_kp(),
				                    motor2_get_kd());
			}
		}
		else
		{

		/* Rehab override */
		if (g_rehab_m2.active)
		{
			motor2_set_position(g_rehab_m2.target);
		}

		float m2_target    = motor2_get_position();   /* deg */
		float m2_max_spd   = motor2_get_max_speed();  /* deg/cycle */
		float m2_max_accel = 0.1f;

		if (g_m2_traj_mode == 0u)
		{
			/* Position mode: ramp toward target */
			float error = m2_target - g_m2_traj_deg;
			if (fabsf(error) < 0.01f) { g_m2_traj_deg = m2_target; g_m2_traj_vel = 0.0f; }
			else
			{
				float dir   = (error > 0.0f) ? 1.0f : -1.0f;
				float dist  = fabsf(error);
				float v_max = m2_max_spd;
				float v_decel = sqrtf(2.0f * m2_max_accel * dist);
				if (v_decel < v_max) v_max = v_decel;
				if (v_max < 0.01f)   v_max = 0.01f;
				g_m2_traj_vel += m2_max_accel * dir;
				if (g_m2_traj_vel >  v_max) g_m2_traj_vel =  v_max;
				if (g_m2_traj_vel < -v_max) g_m2_traj_vel = -v_max;
				g_m2_traj_deg += g_m2_traj_vel;
				if (fabsf(g_m2_traj_deg - m2_target) < 0.005f) g_m2_traj_deg = m2_target;
			}
		}
		else
		{
			/* Velocity mode: continuously add target velocity */
			g_m2_traj_vel  = motor2_get_velocity() * 0.01f;   /* deg/s -> deg/cycle, stored for telemetry */
			g_m2_traj_deg += g_m2_traj_vel;
		}

		/* Rehab: check arrival */
		if (g_rehab_m2.active && fabsf(g_m2_traj_deg - g_rehab_m2.target) < 0.05f)
		{
			rehab_advance(&g_rehab_m2, 1u);
		}

		/* Send RS00 control: convert degrees -> radians */
		#define M2_DEG_TO_RAD  0.0174532925f  /* PI/180 */
		motor2_send_control(g_m2_traj_deg * M2_DEG_TO_RAD,
		                    0.0f,
		                    motor2_get_torque(),
		                    motor2_get_kp(),
		                    motor2_get_kd());
}
	}
}

void Motor1_dingdian_control_process(void)
{
	float u = 0.0f;

	/* In_val set by Order_Creat_process (trajectory planner) */
//	Control_P_PID.Feedback_val = Sensor_jiaodu_1.Value;	//闄や互67.5
	Control_P_PID.Feedback_val = roll;	//°，±90°

	//Control_P_PID.kp = Control_P_PID.kp * 0.01f;

	PID_controller(P_Control_P_PID);

	u = -1.0f * Control_P_PID.u_out;

//	printf("u=%f\r\n",u);

	float deadband = 0.04f;
	if (u > deadband)
	{
		zhan_1_temp = u - deadband;
		zhan_2_temp = 0.0f;
	}
	else if (fabsf(u) <= deadband)
	{
		zhan_1_temp = 0.0f;
		zhan_2_temp = 0.0f;
	}
	else
	{
		zhan_1_temp = 0.0f;
		zhan_2_temp = -u - deadband;
	}
}

int fputc(int c, FILE *stream)
{
    (void)stream;
    HAL_UART_Transmit(&huart1, (unsigned char *)&c, 1, 1000);
    return 1;
}

void HAL_GPIO_EXTI_Callback(uint16_t GPIO_Pin)
{
    if(GPIO_Pin == GPIO_PIN_3)
    {
        Chilun_arrive_flag = 1;
    }
}
/* USER CODE END 4 */

void Error_Handler(void)
{
  __disable_irq();
  while (1)
  {
  }
}
